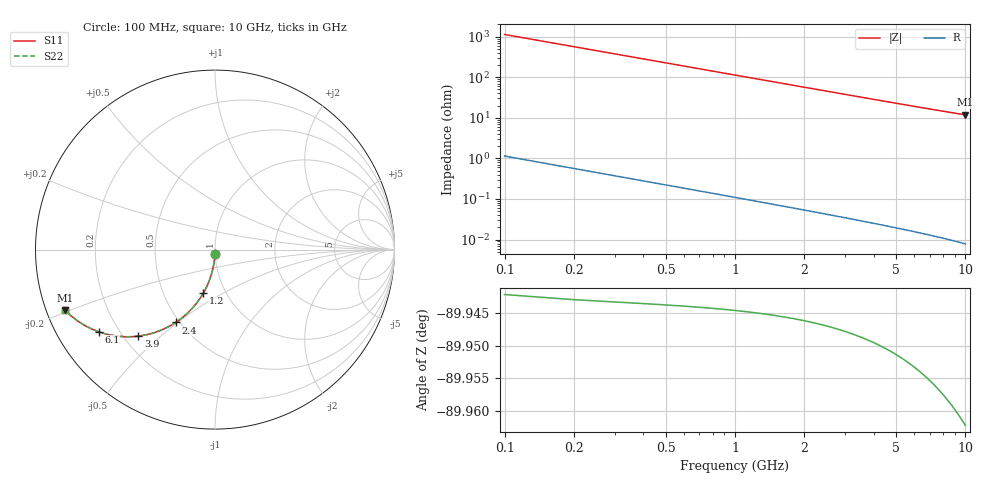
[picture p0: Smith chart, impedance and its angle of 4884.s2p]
# Hz S RI R 50.00
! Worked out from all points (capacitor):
!   100 points, 100 MHz to 10 GHz, reference 50 ohm
!   read as one part in shunt: C = 1.4 pF near 100 MHz
!   lowest |Z| = 11.9 ohm at 10 GHz (marker M1)
!   S11 on the Smith chart (normalised r, x): 100 MHz: 1.00, -0.04; 1.2 GHz: 0.78, -0.41; 2.4 GHz: 0.48, -0.49; 3.9 GHz: 0.26, -0.42; 6.1 GHz: 0.13, -0.31; 10 GHz: 0.05, -0.19
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1e8  -0.00035 -0.0217  0.9993 -0.0224  0.9993 -0.0224  -0.00035 -0.0217
2e8  -0.00183 -0.0434  0.9979 -0.0446  0.9979 -0.0446  -0.00183 -0.0434
3e8  -0.00426 -0.0649  0.9954 -0.0668  0.9954 -0.0668  -0.00426 -0.0649
4e8  -0.00765 -0.0863  0.992 -0.0888  0.992 -0.0888  -0.00765 -0.0863
5e8  -0.012 -0.1074  0.9877 -0.1105  0.9877 -0.1105  -0.012 -0.1074
6e8  -0.0172 -0.1282  0.9825 -0.1319  0.9825 -0.1319  -0.0172 -0.1282
7e8  -0.0233 -0.1486  0.9764 -0.1529  0.9764 -0.1529  -0.0233 -0.1486
9e8  -0.0379 -0.1882  0.9617 -0.1937  0.9617 -0.1937  -0.0379 -0.1882
1.2e9  -0.0656 -0.2436  0.9341 -0.251  0.9341 -0.251  -0.0656 -0.2436
1.5e9  -0.0988 -0.2935  0.9008 -0.3028  0.9008 -0.3028  -0.0988 -0.2935
1.8e9  -0.1364 -0.3373  0.8632 -0.3485  0.8632 -0.3485  -0.1364 -0.3373
2.1e9  -0.177 -0.3748  0.8226 -0.3879  0.8226 -0.3879  -0.177 -0.3748
2.4e9  -0.2194 -0.406  0.7801 -0.4209  0.7801 -0.4209  -0.2194 -0.406
2.9e9  -0.2912 -0.4449  0.7083 -0.4629  0.7083 -0.4629  -0.2912 -0.4449
3.4e9  -0.3612 -0.4693  0.6382 -0.4905  0.6382 -0.4905  -0.3612 -0.4693
3.9e9  -0.4269 -0.482  0.5724 -0.5063  0.5724 -0.5063  -0.4269 -0.482
5.1e9  -0.5613 -0.4797  0.4378 -0.5116  0.4378 -0.5116  -0.5613 -0.4797
6.1e9  -0.6477 -0.4578  0.3511 -0.4961  0.3511 -0.4961  -0.6477 -0.4578
6.7e9  -0.6899 -0.4406  0.3088 -0.4828  0.3088 -0.4828  -0.6899 -0.4406
7.5e9  -0.7369 -0.4156  0.2616 -0.4631  0.2616 -0.4631  -0.7369 -0.4156
8.4e9  -0.7793 -0.3868  0.2188 -0.4402  0.2188 -0.4402  -0.7793 -0.3868
1e10  -0.8349 -0.3375  0.1626 -0.4017  0.1626 -0.4017  -0.8349 -0.3375
